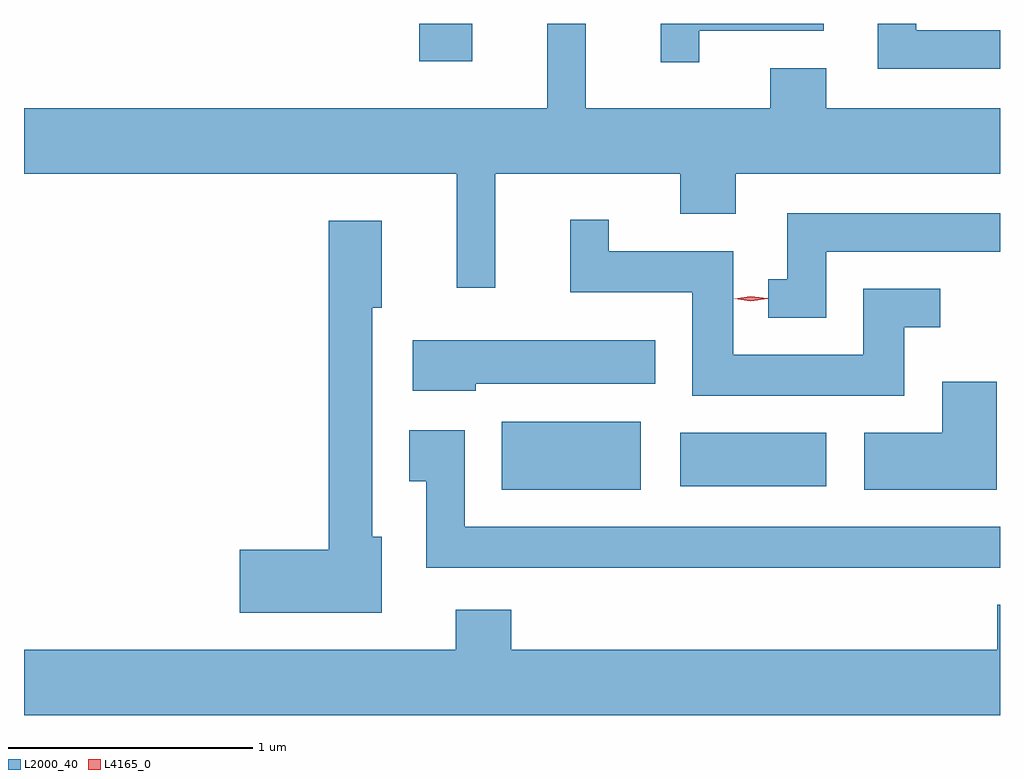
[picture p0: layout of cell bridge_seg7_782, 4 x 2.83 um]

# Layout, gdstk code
import gdstk
lib = gdstk.Library(unit=1e-6, precision=1e-09)
def R(c, l, rs):  # rectangles x0, y0, x1, y1
    for r in rs: c.add(gdstk.rectangle(r[:2], r[2:], *l))
def P(c, l, *ps):  # polygons
    for p in ps: c.add(gdstk.Polygon(p, *l))
L2000_40 = (2000, 40)
L4165_0 = (4165, 0)

bridge_seg7_782 = lib.new_cell('bridge_seg7_782')
R(bridge_seg7_782, L2000_40, [(349.201,1744.101,349.769,1744.379), (349.931,1744.116,350.529,1744.334), (348.861,1745.856,349.079,1746.011)])
P(bridge_seg7_782, L2000_40, [(349.174,1745.396),(349.931,1745.396),(349.931,1745.231),(350.159,1745.231),(350.159,1745.396),(351.242,1745.396),(351.242,1745.664),(350.529,1745.664),(350.529,1745.829),(350.301,1745.829),(350.301,1745.664),(349.544,1745.664),(349.544,1746.011),(349.386,1746.011),(349.386,1745.664),(347.242,1745.664),(347.242,1745.396),(349.016,1745.396),(349.016,1744.928),(349.174,1744.928)],
  [(350.009,1745.981),(350.519,1745.981),(350.519,1746.011),(349.851,1746.011),(349.851,1745.853),(350.009,1745.853)],
  [(351.242,1745.984),(350.899,1745.984),(350.899,1746.011),(350.741,1746.011),(350.741,1745.826),(351.242,1745.826)],
  [(350.529,1745.076),(351.242,1745.076),(351.242,1745.234),(350.371,1745.234),(350.371,1744.964),(350.293,1744.964),(350.293,1744.806),(350.529,1744.806)],
  [(350.849,1744.766),(350.998,1744.766),(350.998,1744.924),(350.681,1744.924),(350.681,1744.654),(350.149,1744.654),(350.149,1745.079),(349.639,1745.079),(349.639,1745.208),(349.481,1745.208),(349.481,1744.911),(349.981,1744.911),(349.981,1744.486),(350.849,1744.486)],
  [(348.709,1743.909),(348.669,1743.909),(348.669,1744.846),(348.709,1744.846),(348.709,1745.204),(348.491,1745.204),(348.491,1743.854),(348.126,1743.854),(348.126,1743.596),(348.709,1743.596)],
  [(349.094,1744.536),(349.829,1744.536),(349.829,1744.714),(348.836,1744.714),(348.836,1744.506),(349.094,1744.506)],
  [(351.229,1744.544),(351.006,1744.544),(351.006,1744.334),(350.686,1744.334),(350.686,1744.101),(351.229,1744.101)],
  [(351.242,1743.949),(349.049,1743.949),(349.049,1744.344),(348.821,1744.344),(348.821,1744.136),(348.891,1744.136),(348.891,1743.781),(351.242,1743.781)],
  [(351.242,1743.629),(351.231,1743.629),(351.231,1743.444),(349.239,1743.444),(349.239,1743.609),(349.011,1743.609),(349.011,1743.444),(347.242,1743.444),(347.242,1743.176),(351.242,1743.176)])
P(bridge_seg7_782, L4165_0, [(350.221,1744.874),(350.152,1744.883),(350.152,1744.884),(350.152,1744.884),(350.221,1744.894),(350.291,1744.885),(350.291,1744.884),(350.291,1744.884)])

lib.write_gds('bridge_seg7_782.gds')
